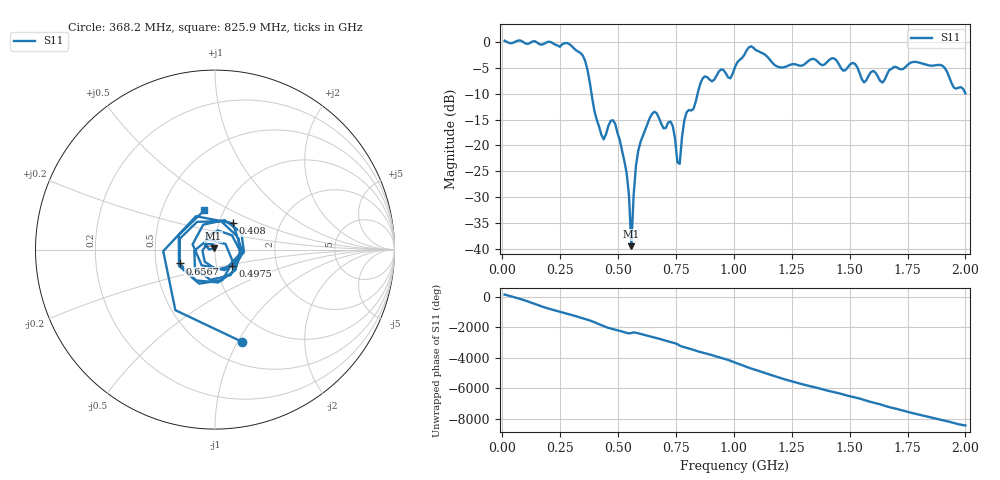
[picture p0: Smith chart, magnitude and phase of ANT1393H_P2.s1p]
!Created with skrf (http://scikit-rf.org).
# Hz S RI R 50.0
!freq ReS11 ImS11
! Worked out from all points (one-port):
!   201 points, 10 MHz to 2 GHz, reference 50 ohm
!   lowest |S11| = -39.4 dB at 557.2 MHz (marker M1), VSWR 1.02, Z = 49.2 + j0.725 ohm
!   |S11| at or under -10 dB: 385.4 MHz to 843.5 MHz (458.2 MHz wide, 74.6 % of centre)
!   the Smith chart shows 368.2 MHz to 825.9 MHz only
!   S11 on the Smith chart (normalised r, x): 368.2 MHz: 0.72, -1.04; 408 MHz: 1.16, +0.35; 497.6 MHz: 1.19, -0.22; 656.8 MHz: 0.66, -0.11; 825.9 MHz: 0.81, +0.37
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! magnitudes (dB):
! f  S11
! 10 MHz  0.2
! 258.8 MHz  -0.5
! 368.2 MHz  -5.4
! 408 MHz  -15.0
! 437.9 MHz  -18.8
! 467.7 MHz  -15.3
! 497.6 MHz  -17.6
! 507.5 MHz  -19.0
! 537.4 MHz  -25.4
! 547.3 MHz  -29.8
! 557.2 MHz  -39.4
! 567.2 MHz  -29.6
! 587.1 MHz  -21.0
! 656.8 MHz  -13.5
! 736.4 MHz  -16.3
! 756.2 MHz  -23.2
! 766.2 MHz  -23.5
! 796 MHz  -13.6
! 825.9 MHz  -12.9
! 865.7 MHz  -7.0
! 1.005 GHz  -4.9
! 1.075 GHz  -0.8
! 1.254 GHz  -4.3
! 1.502 GHz  -4.3
! 1.642 GHz  -7.8
! 1.751 GHz  -4.4
! 1.901 GHz  -4.6
! 2 GHz  -9.9
